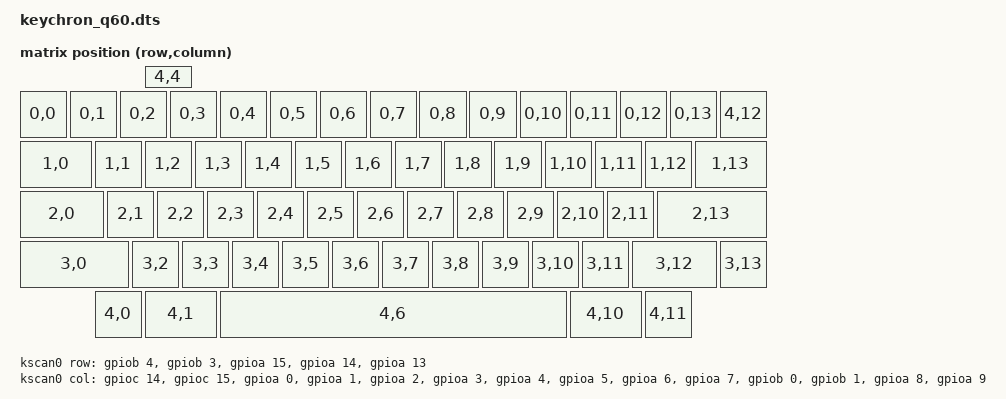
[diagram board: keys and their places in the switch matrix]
/*
 * Copyright (c) 2023 The ZMK Contributors
 * SPDX-License-Identifier: MIT
 */

/dts-v1/;

#include <st/l4/stm32l432Xc.dtsi>
#include <st/l4/stm32l432k(b-c)ux-pinctrl.dtsi>
#include <physical_layouts.dtsi>
#include <dt-bindings/zmk/matrix_transform.h>

/ {

  chosen {
    zephyr,sram = &sram0;
    zephyr,flash = &flash0;
    zephyr,code-partition = &code_partition;
    zmk,kscan = &kscan0;
    // zmk,matrix_transform = &default_transform;
  };

  default_transform: keymap_transform_0 {
    compatible = "zmk,matrix-transform";
    columns = <14>;
    rows = <5>;
    map = <
      /* DIP-SW  off: Mac on: Windwos */
      RC(4,4)

      RC(0,0) RC(0,1) RC(0,2) RC(0,3) RC(0,4) RC(0,5) RC(0,6) RC(0,7) RC(0,8) RC(0,9) RC(0,10) RC(0,11) RC(0,12) RC(0,13) RC(4,12)
      RC(1,0) RC(1,1) RC(1,2) RC(1,3) RC(1,4) RC(1,5) RC(1,6) RC(1,7) RC(1,8) RC(1,9) RC(1,10) RC(1,11) RC(1,12) RC(1,13)
      RC(2,0) RC(2,1) RC(2,2) RC(2,3) RC(2,4) RC(2,5) RC(2,6) RC(2,7) RC(2,8) RC(2,9) RC(2,10) RC(2,11)          RC(2,13)
      RC(3,0)         RC(3,2) RC(3,3) RC(3,4) RC(3,5) RC(3,6) RC(3,7) RC(3,8) RC(3,9) RC(3,10) RC(3,11) RC(3,12) RC(3,13)
      RC(4,0) RC(4,1)                                 RC(4,6)                         RC(4,10) RC(4,11)
    >;
  };

  kscan0: kscan {
    compatible = "zmk,kscan-gpio-matrix";
    diode-direction = "row2col";
    row-gpios
      = <&gpiob 4 GPIO_ACTIVE_HIGH>
      , <&gpiob 3 GPIO_ACTIVE_HIGH>
      , <&gpioa 15 GPIO_ACTIVE_HIGH>
      , <&gpioa 14 GPIO_ACTIVE_HIGH>
      , <&gpioa 13 GPIO_ACTIVE_HIGH>
      ;
    col-gpios
      = <&gpioc 14 (GPIO_ACTIVE_HIGH | GPIO_PULL_DOWN)>
      , <&gpioc 15 (GPIO_ACTIVE_HIGH | GPIO_PULL_DOWN)>
      , <&gpioa 0 (GPIO_ACTIVE_HIGH | GPIO_PULL_DOWN)>
      , <&gpioa 1 (GPIO_ACTIVE_HIGH | GPIO_PULL_DOWN)>
      , <&gpioa 2 (GPIO_ACTIVE_HIGH | GPIO_PULL_DOWN)>
      , <&gpioa 3 (GPIO_ACTIVE_HIGH | GPIO_PULL_DOWN)>
      , <&gpioa 4 (GPIO_ACTIVE_HIGH | GPIO_PULL_DOWN)>
      , <&gpioa 5 (GPIO_ACTIVE_HIGH | GPIO_PULL_DOWN)>
      , <&gpioa 6 (GPIO_ACTIVE_HIGH | GPIO_PULL_DOWN)>
      , <&gpioa 7 (GPIO_ACTIVE_HIGH | GPIO_PULL_DOWN)>
      , <&gpiob 0 (GPIO_ACTIVE_HIGH | GPIO_PULL_DOWN)>
      , <&gpiob 1 (GPIO_ACTIVE_HIGH | GPIO_PULL_DOWN)>
      , <&gpioa 8 (GPIO_ACTIVE_HIGH | GPIO_PULL_DOWN)>
      , <&gpioa 9 (GPIO_ACTIVE_HIGH | GPIO_PULL_DOWN)>
      ;
  };

  layout0: layout {
    compatible = "zmk,physical-layout";
    display-name = "HHKB";
    kscan = <&kscan0>;
    transform = <&default_transform>;
    keys  //                   w   h    x    y     rot    rx    ry
      = <&key_physical_attrs 100  50  250    0       0     0     0> /* DIP SW */
      , <&key_physical_attrs 100 100    0   50       0     0     0>
      , <&key_physical_attrs 100 100  100   50       0     0     0>
      , <&key_physical_attrs 100 100  200   50       0     0     0>
      , <&key_physical_attrs 100 100  300   50       0     0     0>
      , <&key_physical_attrs 100 100  400   50       0     0     0>
      , <&key_physical_attrs 100 100  500   50       0     0     0>
      , <&key_physical_attrs 100 100  600   50       0     0     0>
      , <&key_physical_attrs 100 100  700   50       0     0     0>
      , <&key_physical_attrs 100 100  800   50       0     0     0>
      , <&key_physical_attrs 100 100  900   50       0     0     0>
      , <&key_physical_attrs 100 100 1000   50       0     0     0>
      , <&key_physical_attrs 100 100 1100   50       0     0     0>
      , <&key_physical_attrs 100 100 1200   50       0     0     0>
      , <&key_physical_attrs 100 100 1300   50       0     0     0>
      , <&key_physical_attrs 100 100 1400   50       0     0     0>
      , <&key_physical_attrs 150 100    0  150       0     0     0>
      , <&key_physical_attrs 100 100  150  150       0     0     0>
      , <&key_physical_attrs 100 100  250  150       0     0     0>
      , <&key_physical_attrs 100 100  350  150       0     0     0>
      , <&key_physical_attrs 100 100  450  150       0     0     0>
      , <&key_physical_attrs 100 100  550  150       0     0     0>
      , <&key_physical_attrs 100 100  650  150       0     0     0>
      , <&key_physical_attrs 100 100  750  150       0     0     0>
      , <&key_physical_attrs 100 100  850  150       0     0     0>
      , <&key_physical_attrs 100 100  950  150       0     0     0>
      , <&key_physical_attrs 100 100 1050  150       0     0     0>
      , <&key_physical_attrs 100 100 1150  150       0     0     0>
      , <&key_physical_attrs 100 100 1250  150       0     0     0>
      , <&key_physical_attrs 150 100 1350  150       0     0     0>
      , <&key_physical_attrs 175 100    0  250       0     0     0>
      , <&key_physical_attrs 100 100  175  250       0     0     0>
      , <&key_physical_attrs 100 100  275  250       0     0     0>
      , <&key_physical_attrs 100 100  375  250       0     0     0>
      , <&key_physical_attrs 100 100  475  250       0     0     0>
      , <&key_physical_attrs 100 100  575  250       0     0     0>
      , <&key_physical_attrs 100 100  675  250       0     0     0>
      , <&key_physical_attrs 100 100  775  250       0     0     0>
      , <&key_physical_attrs 100 100  875  250       0     0     0>
      , <&key_physical_attrs 100 100  975  250       0     0     0>
      , <&key_physical_attrs 100 100 1075  250       0     0     0>
      , <&key_physical_attrs 100 100 1175  250       0     0     0>
      , <&key_physical_attrs 225 100 1275  250       0     0     0>
      , <&key_physical_attrs 225 100    0  350       0     0     0>
      , <&key_physical_attrs 100 100  225  350       0     0     0>
      , <&key_physical_attrs 100 100  325  350       0     0     0>
      , <&key_physical_attrs 100 100  425  350       0     0     0>
      , <&key_physical_attrs 100 100  525  350       0     0     0>
      , <&key_physical_attrs 100 100  625  350       0     0     0>
      , <&key_physical_attrs 100 100  725  350       0     0     0>
      , <&key_physical_attrs 100 100  825  350       0     0     0>
      , <&key_physical_attrs 100 100  925  350       0     0     0>
      , <&key_physical_attrs 100 100 1025  350       0     0     0>
      , <&key_physical_attrs 100 100 1125  350       0     0     0>
      , <&key_physical_attrs 175 100 1225  350       0     0     0>
      , <&key_physical_attrs 100 100 1400  350       0     0     0>
      , <&key_physical_attrs 100 100  150  450       0     0     0>
      , <&key_physical_attrs 150 100  250  450       0     0     0>
      , <&key_physical_attrs 700 100  400  450       0     0     0>
      , <&key_physical_attrs 150 100 1100  450       0     0     0>
      , <&key_physical_attrs 100 100 1250  450       0     0     0>
      ;
  };
};

&clk_hsi {
  status = "okay";
};

/* this is needed since zephyr 3.4 */
&clk_hsi48 {
  status = "okay";
};

&pll {
  div-m = <1>;
  mul-n = <20>;
  div-p = <7>;
  div-q = <2>;
  div-r = <4>;
  clocks = <&clk_hsi>;
  status = "okay";
};

&rcc {
  clocks = <&pll>;
  clock-frequency = <DT_FREQ_M(80)>;
  ahb-prescaler = <1>;
  apb1-prescaler = <1>;
  apb2-prescaler = <1>;
};

/* TODO WS2812 controller */
&i2c1 {
  pinctrl-0 = <&i2c1_scl_pb6 &i2c1_sda_pb7>;
  pinctrl-names = "default";
  clock-frequency = <I2C_BITRATE_FAST>;
  status = "okay";
};

&flash0 {
  partitions {
    compatible = "fixed-partitions";
    #address-cells = <1>;
    #size-cells = <1>;

    code_partition: partition@0 {
      reg = <0x0 (DT_SIZE_M(256) - DT_SIZE_K(32))>;
      read-only;
    };

    /*
     * 36 KiB for file system partition
     */
    storage_partition: partition@38000 {
      reg = <(DT_SIZE_K(256) - DT_SIZE_K(32)) DT_SIZE_K(32)>;
    };
  };
};

zephyr_udc0: &usb {
  status = "okay";
  /* pinctrl properties are required since zephyr 3.4 */
  pinctrl-0 = <&usb_dm_pa11 &usb_dp_pa12>;
  pinctrl-names = "default";
};
